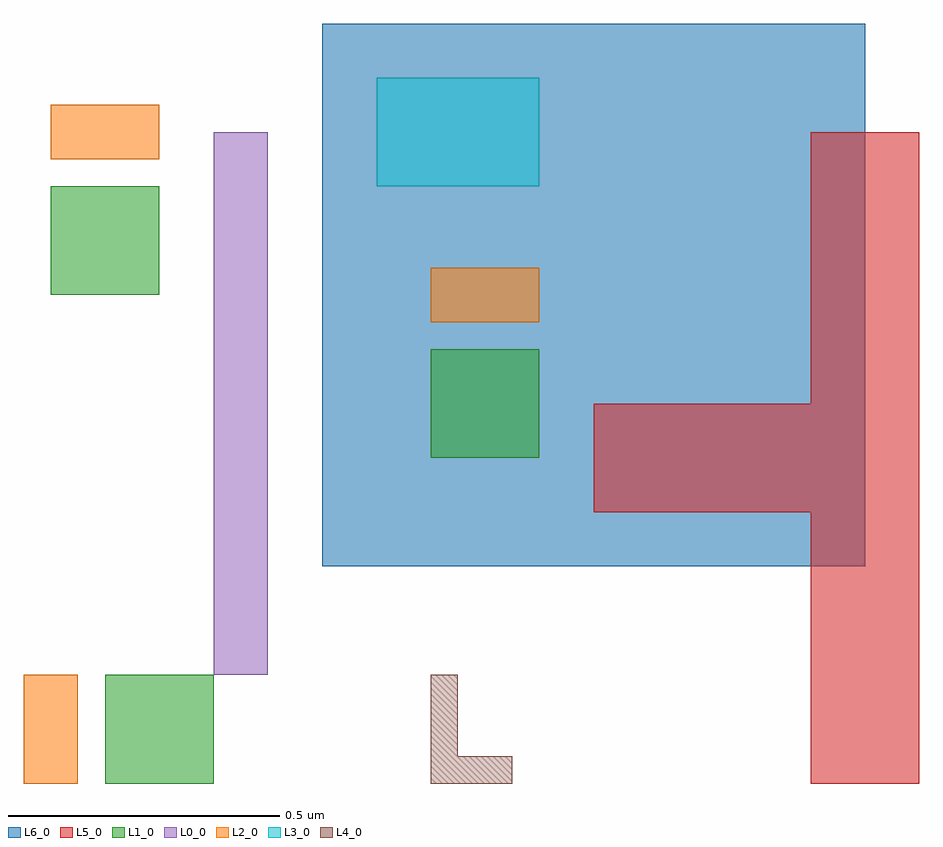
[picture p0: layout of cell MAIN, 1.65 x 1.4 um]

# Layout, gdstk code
from math import pi, radians
import gdstk
lib = gdstk.Library(unit=1e-6, precision=1e-09)
def R(c, l, rs):  # rectangles x0, y0, x1, y1
    for r in rs: c.add(gdstk.rectangle(r[:2], r[2:], *l))
def P(c, l, *ps):  # polygons
    for p in ps: c.add(gdstk.Polygon(p, *l))
L0_0 = (0, 0)
L1_0 = (1, 0)
L2_0 = (2, 0)
L3_0 = (3, 0)
L4_0 = (4, 0)
L5_0 = (5, 0)
L6_0 = (6, 0)

cell_a = lib.new_cell('CELL_A')
R(cell_a, L1_0, [(0,0,0.2,0.2)])
R(cell_a, L2_0, [(0,0.25,0.2,0.35)])

cell_b = lib.new_cell('CELL_B')
R(cell_b, L0_0, [(0,0,0.05,0.5)])

cell_c = lib.new_cell('CELL_C')
R(cell_c, L3_0, [(0.1,0.1,0.4,0.3)])

cell_l = lib.new_cell('CELL_L')
P(cell_l, L4_0, [(0,0),(0,0.2),(0.05,0.2),(0.05,0.05),(0.15,0.05),(0.15,0)])

cell_t = lib.new_cell('CELL_T')
P(cell_t, L5_0, [(0,0),(0,0.05),(0.125,0.05),(0.125,0.15),(0.175,0.15),(0.175,0.05),(0.3,0.05),(0.3,0)])

main = lib.new_cell('MAIN')
R(main, L6_0, [(0.5,0.5,1.5,1.5)])
main.add(gdstk.Reference(cell_a, (0,1)))
main.add(gdstk.Reference(cell_a, (0.3,0.1), rotation=pi/2))
main.add(gdstk.Reference(cell_a, (0.7,0.7)))
main.add(gdstk.Reference(cell_b, (0.3,0.3), magnification=2))
main.add(gdstk.Reference(cell_c, (0.5,1.1)))
main.add(gdstk.Reference(cell_l, (0.7,0.1)))
main.add(gdstk.Reference(cell_t, (1.6,0.1), rotation=pi/2, magnification=4))

lib.write_gds('MAIN.gds')
